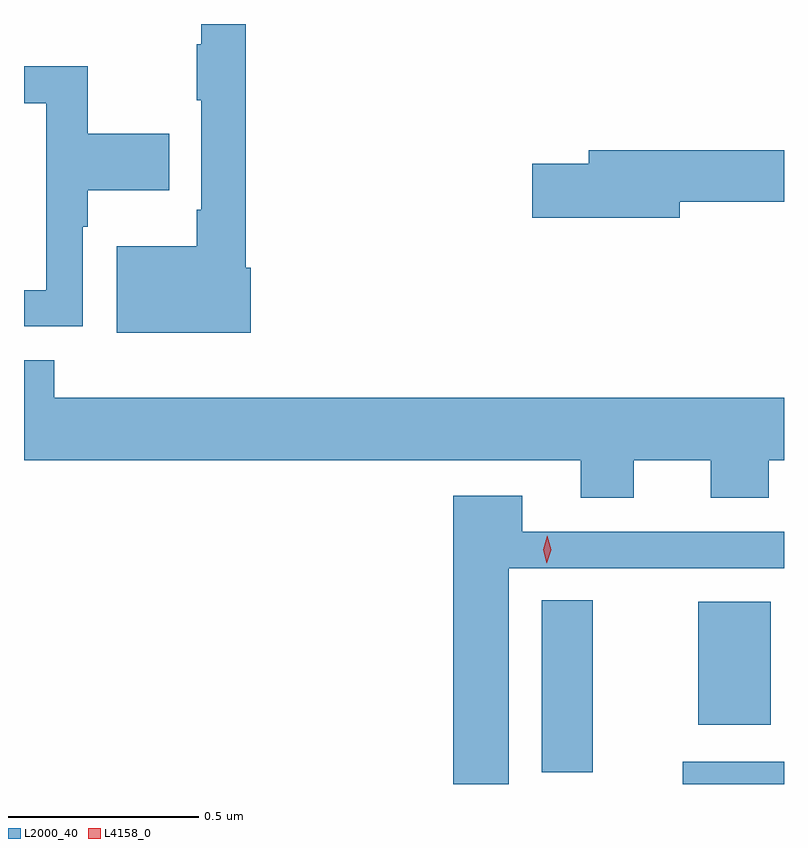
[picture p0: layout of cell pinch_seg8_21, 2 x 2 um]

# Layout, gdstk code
import gdstk
lib = gdstk.Library(unit=1e-6, precision=1e-09)
def R(c, l, rs):  # rectangles x0, y0, x1, y1
    for r in rs: c.add(gdstk.rectangle(r[:2], r[2:], *l))
def P(c, l, *ps):  # polygons
    for p in ps: c.add(gdstk.Polygon(p, *l))
L2000_40 = (2000, 40)
L4158_0 = (4158, 0)

pinch_seg8_21 = lib.new_cell('pinch_seg8_21')
R(pinch_seg8_21, L2000_40, [(1021.098,1126.304,1021.365,1126.362), (1020.728,1126.335,1020.862,1126.787), (1021.139,1126.46,1021.33,1126.783)])
P(pinch_seg8_21, L2000_40, [(1019.962,1127.663),(1019.948,1127.663),(1019.948,1128.304),(1019.831,1128.304),(1019.831,1128.251),(1019.82,1128.251),(1019.82,1128.103),(1019.832,1128.103),(1019.832,1127.815),(1019.82,1127.815),(1019.82,1127.719),(1019.609,1127.719),(1019.609,1127.492),(1019.962,1127.492)],
  [(1019.52,1127.771),(1019.533,1127.771),(1019.533,1127.867),(1019.747,1127.867),(1019.747,1128.015),(1019.533,1128.015),(1019.533,1128.193),(1019.365,1128.193),(1019.365,1128.096),(1019.424,1128.096),(1019.424,1127.604),(1019.365,1127.604),(1019.365,1127.508),(1019.52,1127.508)],
  [(1021.09,1127.836),(1021.365,1127.836),(1021.365,1127.972),(1020.851,1127.972),(1020.851,1127.936),(1020.702,1127.936),(1020.702,1127.794),(1021.09,1127.794)],
  [(1020.97,1127.156),(1021.172,1127.156),(1021.172,1127.057),(1021.325,1127.057),(1021.325,1127.156),(1021.365,1127.156),(1021.365,1127.32),(1019.444,1127.32),(1019.444,1127.419),(1019.365,1127.419),(1019.365,1127.156),(1020.83,1127.156),(1020.83,1127.057),(1020.97,1127.057)],
  [(1020.64,1126.872),(1021.365,1126.872),(1021.365,1126.968),(1020.676,1126.968),(1020.676,1127.062),(1020.494,1127.062),(1020.494,1126.304),(1020.64,1126.304)])
P(pinch_seg8_21, L4158_0, [(1020.741,1126.885),(1020.741,1126.885),(1020.732,1126.921),(1020.742,1126.957),(1020.742,1126.957),(1020.742,1126.957),(1020.752,1126.921),(1020.741,1126.885)])

lib.write_gds('pinch_seg8_21.gds')
